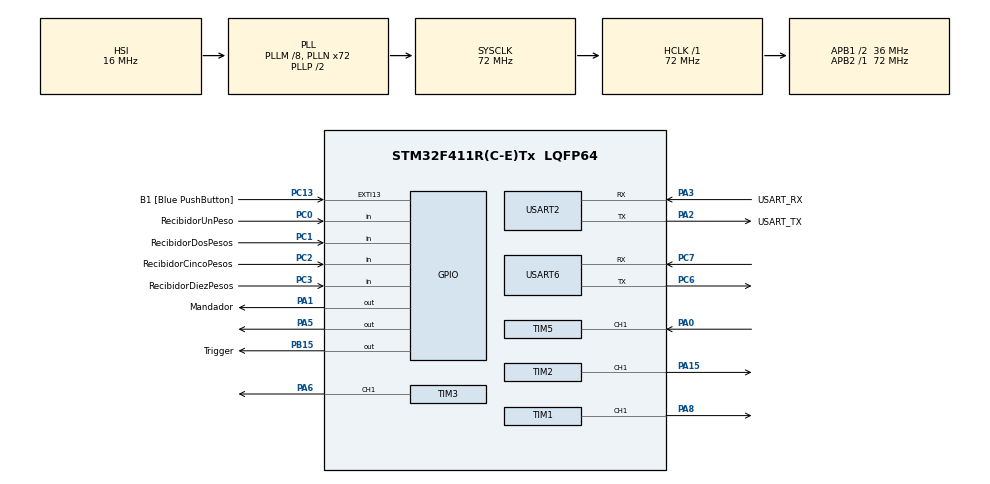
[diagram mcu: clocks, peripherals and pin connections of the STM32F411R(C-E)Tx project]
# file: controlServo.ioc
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Mcu.Family=STM32F4
Mcu.Name=STM32F411R(C-E)Tx
Mcu.Package=LQFP64
NVIC.PriorityGroup=NVIC_PRIORITYGROUP_0
NVIC.TIM5_IRQn=true\:0\:0\:false\:false\:true\:true\:true\:true
PA0-WKUP.Signal=S_TIM5_CH1
PA1.GPIO_Label=Mandador
PA1.Signal=GPIO_Output
PA13.GPIO_Label=TMS
PA13.Mode=Serial_Wire
PA13.Signal=SYS_JTMS-SWDIO
PA14.GPIO_Label=TCK
PA14.Mode=Serial_Wire
PA14.Signal=SYS_JTCK-SWCLK
PA15.Signal=S_TIM2_CH1_ETR
PA2.GPIO_Label=USART_TX
PA2.Mode=Asynchronous
PA2.Signal=USART2_TX
PA3.GPIO_Label=USART_RX
PA3.Mode=Asynchronous
PA3.Signal=USART2_RX
PA5.Signal=GPIO_Output
PA6.Signal=S_TIM3_CH1
PA8.Signal=S_TIM1_CH1
PB15.GPIO_Label=Trigger
PB15.Signal=GPIO_Output
PB3.GPIO_Label=SWO
PB3.Signal=SYS_JTDO-SWO
PC0.GPIO_Label=RecibidorUnPeso
PC0.Signal=GPIO_Input
PC1.GPIO_Label=RecibidorDosPesos
PC1.Signal=GPIO_Input
PC13-ANTI_TAMP.GPIO_Label=B1 [Blue PushButton]
PC13-ANTI_TAMP.GPIO_ModeDefaultEXTI=GPIO_MODE_IT_FALLING
PC13-ANTI_TAMP.Signal=GPXTI13
PC14-OSC32_IN.Signal=RCC_OSC32_IN
PC15-OSC32_OUT.Signal=RCC_OSC32_OUT
PC2.GPIO_Label=RecibidorCincoPesos
PC2.Signal=GPIO_Input
PC3.GPIO_Label=RecibidorDiezPesos
PC3.Signal=GPIO_Input
PC6.Mode=Asynchronous
PC6.Signal=USART6_TX
PC7.Mode=Asynchronous
PC7.Signal=USART6_RX
PH0\ -\ OSC_IN.Mode=HSE-External-Oscillator
PH0\ -\ OSC_IN.Signal=RCC_OSC_IN
PH1\ -\ OSC_OUT.Mode=HSE-External-Oscillator
PH1\ -\ OSC_OUT.Signal=RCC_OSC_OUT
ProjectManager.HeapSize=0x200
ProjectManager.StackSize=0x400
ProjectManager.TargetToolchain=STM32CubeIDE
RCC.48MHZClocksFreq_Value=36000000
RCC.AHBFreq_Value=72000000
RCC.APB1CLKDivider=RCC_HCLK_DIV2
RCC.APB1Freq_Value=36000000
RCC.APB1TimFreq_Value=72000000
RCC.APB2Freq_Value=72000000
RCC.APB2TimFreq_Value=72000000
RCC.CortexFreq_Value=72000000
RCC.FLatency-AdvancedSettings=FLASH_LATENCY_2
RCC.HCLKFreq_Value=72000000
RCC.HSE_VALUE=8000000
RCC.HSI_VALUE=16000000
RCC.LSE_VALUE=32768
RCC.PLLM=8
RCC.PLLN=72
RCC.SYSCLKFreq_VALUE=72000000
RCC.SYSCLKSource=RCC_SYSCLKSOURCE_PLLCLK
RCC.VCOOutputFreq_Value=144000000
SH.S_TIM1_CH1.0=TIM1_CH1,PWM Generation1 CH1
SH.S_TIM2_CH1_ETR.0=TIM2_CH1,PWM Generation1 CH1
SH.S_TIM3_CH1.0=TIM3_CH1,PWM Generation1 CH1
SH.S_TIM5_CH1.0=TIM5_CH1,Input_Capture1_from_TI1
TIM1.Channel-PWM\ Generation1\ CH1=TIM_CHANNEL_1
TIM1.Period=20000
TIM1.Prescaler=72-1
TIM1.Pulse-PWM\ Generation1\ CH1=500
TIM2.Channel-PWM\ Generation1\ CH1=TIM_CHANNEL_1
TIM2.Period=20000
TIM2.Prescaler=72-1
TIM2.Pulse-PWM\ Generation1\ CH1=500
TIM3.Channel-PWM\ Generation1\ CH1=TIM_CHANNEL_1
TIM3.Period=20000
TIM3.Prescaler=72-1
TIM3.Pulse-PWM\ Generation1\ CH1=500
TIM5.Channel-Input_Capture1_from_TI1=TIM_CHANNEL_1
TIM5.Period=65535
TIM5.Prescaler=71
USART2.VirtualMode=VM_ASYNC
USART6.VirtualMode=VM_ASYNC
VP_TIM1_VS_ClockSourceINT.Mode=Internal
VP_TIM2_VS_ClockSourceINT.Mode=Internal
VP_TIM3_VS_ClockSourceINT.Mode=Internal
board=NUCLEO-F411RE

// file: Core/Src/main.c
/* USER CODE BEGIN Header */
/**
  ******************************************************************************
  * @file           : main.c
  * @brief          : Main program body
  ******************************************************************************
  * @attention
  *
  * Copyright (c) 2024 STMicroelectronics.
  * All rights reserved.
  *
  * This software is licensed under terms that can be found in the LICENSE file
  * in the root directory of this software component.
  * If no LICENSE file comes with this software, it is provided AS-IS.
  *
  ******************************************************************************
  */
/* USER CODE END Header */
#include "main.h"
#include "tim.h"
#include "usart.h"
#include "gpio.h"

/* USER CODE BEGIN Includes */
#include "hc_sr04.h"
#include "math.h"
#include "rdebug.h"
#include "stdio.h"
#include "stdint.h"
#include "stdlib.h"
/* USER CODE END Includes */

/* USER CODE BEGIN PTD */
	int servoEnGrados(int grados){
		int gradosParaPlaca=(ceil((grados*11.111)+500));
		return gradosParaPlaca;
	}

	int cicloFor(TIM_HandleTypeDef servoMotor){
		int detector=0;
		for(int i=0;i<51;i++){
			servoMotor.Instance->CCR1=servoEnGrados(i);
			if(HCSR04_Get_Distance()<9){
				detector+=1;
			}
			HAL_Delay(40);
		}
		return detector;
	}

	void setBothServos(TIM_HandleTypeDef servoMotor1,int gradosServoMotor1,TIM_HandleTypeDef servoMotor2,int gradosServoMotor2){
		servoMotor1.Instance->CCR1=servoEnGrados(gradosServoMotor1);
		servoMotor2.Instance->CCR1=servoEnGrados(gradosServoMotor2);
	}

	void concatenar(int pagar, int pagado, char* tipoVehi){
		char resultado[50];

		sprintf(resultado, "%d,%d,%s", pagar, pagado, tipoVehi);

		rprintf("%s\n",resultado);
	}

	int pagar(int pagar,char* vehic){

		int pagado=0;
		while(pagar>pagado){
			if(HAL_GPIO_ReadPin(RecibidorUnPeso_GPIO_Port, RecibidorUnPeso_Pin)==0){
				pagado+=1;
				HAL_Delay(100);
			}
			if(HAL_GPIO_ReadPin(RecibidorDosPesos_GPIO_Port, RecibidorDosPesos_Pin)==0){
				pagado+=2;
				HAL_Delay(100);
			}
			if(HAL_GPIO_ReadPin(RecibidorCincoPesos_GPIO_Port, RecibidorCincoPesos_Pin)==0){
				pagado+=5;
				HAL_Delay(100);
			}
			if(HAL_GPIO_ReadPin(RecibidorDiezPesos_GPIO_Port,RecibidorDiezPesos_Pin)==0){
				pagado+=10;
				HAL_Delay(100);
			}
			concatenar(pagar,pagado,vehic);
			HAL_Delay(10);
		}
		return pagado;
	}

/* USER CODE END PTD */

void SystemClock_Config(void);

int main(void)
{

  /* MCU Configuration--------------------------------------------------------*/

  /* Reset of all peripherals, Initializes the Flash interface and the Systick. */
  HAL_Init();

  /* Configure the system clock */
  SystemClock_Config();

  /* Initialize all configured peripherals */
  MX_GPIO_Init();
  MX_USART2_UART_Init();
  MX_TIM1_Init();
  MX_TIM2_Init();
  MX_TIM3_Init();
  MX_USART6_UART_Init();
  MX_TIM5_Init();
  /* USER CODE BEGIN 2 */
  //HAL_TIM_PWM_Start(&htim1, TIM_CHANNEL_1);
  /* USER CODE END 2 */

  /* Infinite loop */
  /* USER CODE BEGIN WHILE */

  MX_TIM1_Init();
  HCSR04_Init();

  HAL_TIM_PWM_Start(&htim1, TIM_CHANNEL_1);
  HAL_TIM_PWM_Start(&htim2, TIM_CHANNEL_1);
  HAL_TIM_PWM_Start(&htim3,TIM_CHANNEL_1);

  //Para el servo de la pluma
  TIM_HandleTypeDef servoPluma=htim1;

  //Para el servo que detecta el vehiculo
  TIM_HandleTypeDef servoMotorDetector=htim2;
  //Para el servo que baja el sensor
  TIM_HandleTypeDef servoMotorBajador=htim3;
  int detectarVehiculo=0;
  int moto=12;
  int carro=17;
  int camion=30;

  int pay;
  int paid;

  int entrar=0;
  char* tipoVehiculo;
  Initrdebug(&huart6);
  while (1)
  {
	  setBothServos(servoMotorDetector, 10, servoMotorBajador, 0);
	  while(HCSR04_Get_Distance()>5);
	  HAL_Delay(1000);

	  detectarVehiculo=0;
	  HAL_GPIO_WritePin(Mandador_GPIO_Port, Mandador_Pin, 1);
	  setBothServos(servoMotorDetector, 10, servoMotorBajador, 60);
	  detectarVehiculo=cicloFor(servoMotorDetector);

	  if(detectarVehiculo>3){
		  //Significa que es camion
		  tipoVehiculo="Camion";
		  pay=camion;
		  entrar=1;
		  HAL_Delay(100);
	  }else{
		  setBothServos(servoMotorDetector, 10, servoMotorBajador, 0);
	  	  detectarVehiculo=cicloFor(servoMotorDetector);

	  	  if(detectarVehiculo>10){
	  		  //tipoVehiculo='A';
	  		  tipoVehiculo="Automovil";
	  		  entrar=1;
	  		  pay=carro;
	  		  HAL_Delay(100);
	  	  }else if(detectarVehiculo>0){
	  		  //tipoVehiculo='M';
	  		  tipoVehiculo="Motocicleta";
	  		  entrar=1;
	  		  pay=moto;
	  		  HAL_Delay(100);
	  	  }
	  }
	  if(entrar==1){
		  paid=pagar(pay,tipoVehiculo);
		  concatenar(pay,paid,tipoVehiculo);
		  servoPluma.Instance->CCR1=servoEnGrados(0);
		  HAL_Delay(10000);
		  servoPluma.Instance->CCR1=servoEnGrados(90);
	  }
	  servoPluma.Instance->CCR1=servoEnGrados(90);
	  HAL_Delay(500);
	  entrar=0;

	  /*
	   if(distancia<50){
		  while(htim2.Instance->CCR1< 2500){
			  htim2.Instance->CCR1+=10;
			  HAL_Delay(40);
		  }
		  htim2.Instance->CCR1=500;
		  distancia=HCSR04_Get_Distance();
		  distancia=1000;
		  delai=100;
	  }
	   */

	  //HAL_Delay(delai);
	  //delai=50;

    /* USER CODE END WHILE */

  }
}

void SystemClock_Config(void)
{
  RCC_OscInitTypeDef RCC_OscInitStruct = {0};
  RCC_ClkInitTypeDef RCC_ClkInitStruct = {0};

  /** Configure the main internal regulator output voltage
  */
  __HAL_RCC_PWR_CLK_ENABLE();
  __HAL_PWR_VOLTAGESCALING_CONFIG(PWR_REGULATOR_VOLTAGE_SCALE1);

  /** Initializes the RCC Oscillators according to the specified parameters
  * in the RCC_OscInitTypeDef structure.
  */
  RCC_OscInitStruct.OscillatorType = RCC_OSCILLATORTYPE_HSI;
  RCC_OscInitStruct.HSIState = RCC_HSI_ON;
  RCC_OscInitStruct.HSICalibrationValue = RCC_HSICALIBRATION_DEFAULT;
  RCC_OscInitStruct.PLL.PLLState = RCC_PLL_ON;
  RCC_OscInitStruct.PLL.PLLSource = RCC_PLLSOURCE_HSI;
  RCC_OscInitStruct.PLL.PLLM = 8;
  RCC_OscInitStruct.PLL.PLLN = 72;
  RCC_OscInitStruct.PLL.PLLP = RCC_PLLP_DIV2;
  RCC_OscInitStruct.PLL.PLLQ = 4;
  if (HAL_RCC_OscConfig(&RCC_OscInitStruct) != HAL_OK)
  {
    Error_Handler();
  }

  /** Initializes the CPU, AHB and APB buses clocks
  */
  RCC_ClkInitStruct.ClockType = RCC_CLOCKTYPE_HCLK|RCC_CLOCKTYPE_SYSCLK
                              |RCC_CLOCKTYPE_PCLK1|RCC_CLOCKTYPE_PCLK2;
  RCC_ClkInitStruct.SYSCLKSource = RCC_SYSCLKSOURCE_PLLCLK;
  RCC_ClkInitStruct.AHBCLKDivider = RCC_SYSCLK_DIV1;
  RCC_ClkInitStruct.APB1CLKDivider = RCC_HCLK_DIV2;
  RCC_ClkInitStruct.APB2CLKDivider = RCC_HCLK_DIV1;

  if (HAL_RCC_ClockConfig(&RCC_ClkInitStruct, FLASH_LATENCY_2) != HAL_OK)
  {
    Error_Handler();
  }
}

void Error_Handler(void)
{
  __disable_irq();
  while (1)
  {
  }
}
